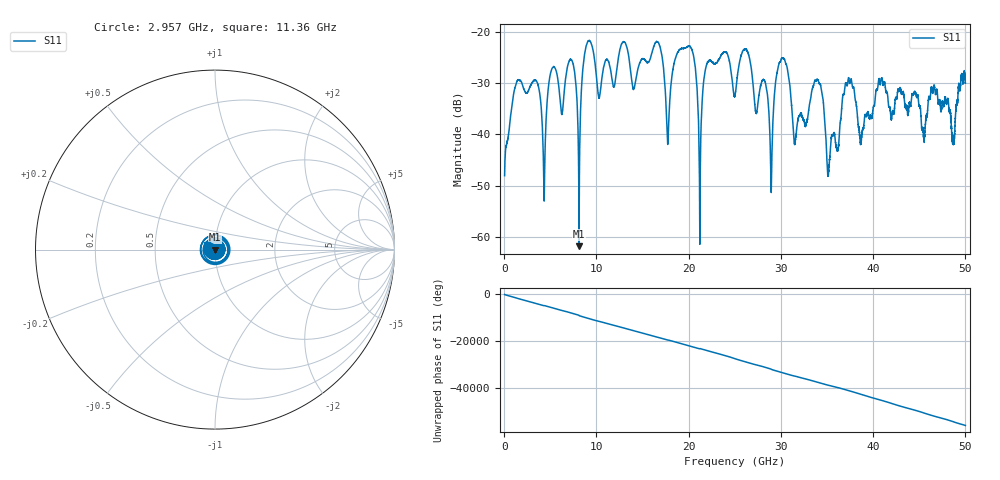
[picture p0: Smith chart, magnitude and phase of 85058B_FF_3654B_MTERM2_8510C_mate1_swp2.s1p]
!Created with skrf (http://scikit-rf.org).
# Hz S RI R 50.0
!freq ReS11 ImS11
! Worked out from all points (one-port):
!   10001 points, 45 MHz to 50 GHz, reference 50 ohm
!   lowest |S11| = -61.9 dB at 8.118 GHz (marker M1), VSWR 1.00, Z = 49.9 - j0.0418 ohm
!   |S11| at or under -10 dB: start of sweep to end of sweep
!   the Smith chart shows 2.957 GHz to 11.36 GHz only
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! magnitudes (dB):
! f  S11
! 45 MHz  -48.1
! 1.514 GHz  -29.3
! 3.582 GHz  -29.9
! 4.311 GHz  -51.7
! 5.175 GHz  -27.1
! 6.289 GHz  -35.9
! 7.323 GHz  -25.5
! 8.118 GHz  -61.9
! 9.032 GHz  -21.9
! 12.53 GHz  -23.5
! 16.7 GHz  -22.0
! 17.74 GHz  -41.7
! 18.78 GHz  -24.1
! 20.43 GHz  -23.9
! 21.22 GHz  -59.1
! 22.13 GHz  -25.8
! 25.02 GHz  -32.4
! 26.3 GHz  -23.6
! 28.94 GHz  -51.1
! 30.24 GHz  -25.1
! 31.27 GHz  -37.2
! 34.07 GHz  -29.6
! 35.16 GHz  -47.5
! 37.51 GHz  -29.9
! 38.66 GHz  -41.9
! 43.76 GHz  -36.2
! 48.68 GHz  -41.3
! 50 GHz  -29.9
